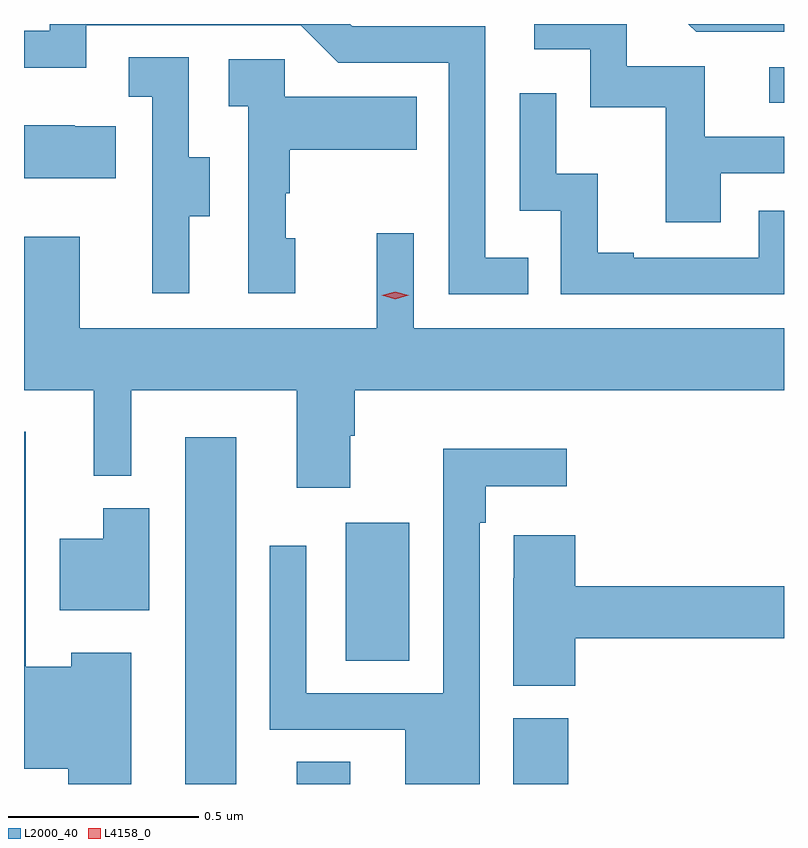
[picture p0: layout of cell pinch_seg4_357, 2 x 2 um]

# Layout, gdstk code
import gdstk
lib = gdstk.Library(unit=1e-6, precision=1e-09)
def R(c, l, rs):  # rectangles x0, y0, x1, y1
    for r in rs: c.add(gdstk.rectangle(r[:2], r[2:], *l))
def P(c, l, *ps):  # polygons
    for p in ps: c.add(gdstk.Polygon(p, *l))
L2000_40 = (2000, 40)
L4158_0 = (4158, 0)

pinch_seg4_357 = lib.new_cell('pinch_seg4_357')
R(pinch_seg4_357, L2000_40, [(995.864,791.788,995.998,792.7), (996.158,791.788,996.298,791.846), (996.728,791.788,996.872,791.961), (996.287,792.112,996.454,792.475), (997.401,793.581,997.44,793.674)])
P(pinch_seg4_357, L2000_40, [(996.767,793.173),(996.654,793.173),(996.654,793.782),(996.304,793.782),(996.298,793.788),(995.508,793.788),(995.508,793.77),(995.44,793.77),(995.44,793.673),(995.604,793.673),(995.604,793.785),(996.168,793.785),(996.267,793.686),(996.558,793.686),(996.558,793.077),(996.767,793.077)],
  [(997.44,793.788),(997.188,793.788),(997.209,793.767),(997.44,793.767)],
  [(997.273,793.395),(997.44,793.395),(997.44,793.491),(997.231,793.491),(997.231,793.677),(997.026,793.677),(997.026,793.788),(996.783,793.788),(996.783,793.722),(996.93,793.722),(996.93,793.569),(997.129,793.569),(997.129,793.266),(997.273,793.266)],
  [(995.875,793.282),(995.929,793.282),(995.929,793.437),(995.874,793.437),(995.874,793.7),(995.715,793.7),(995.715,793.597),(995.778,793.597),(995.778,793.293),(995.777,793.293),(995.777,793.08),(995.875,793.08)],
  [(996.154,793.224),(996.129,793.224),(996.129,793.343),(996.139,793.343),(996.139,793.457),(996.473,793.457),(996.473,793.597),(996.126,793.597),(996.126,793.695),(995.979,793.695),(995.979,793.571),(996.03,793.571),(996.03,793.08),(996.154,793.08)],
  [(997.44,793.296),(997.374,793.296),(997.374,793.173),(997.045,793.173),(997.045,793.186),(996.95,793.186),(996.95,793.394),(996.84,793.394),(996.84,793.606),(996.744,793.606),(996.744,793.296),(996.852,793.296),(996.852,793.077),(997.44,793.077)],
  [(995.681,793.519),(995.573,793.519),(995.573,793.522),(995.44,793.522),(995.44,793.382),(995.681,793.382)],
  [(996.298,792.704),(996.311,792.704),(996.311,792.824),(997.44,792.824),(997.44,792.988),(996.465,792.988),(996.465,793.237),(996.368,793.237),(996.368,792.988),(995.587,792.988),(995.587,793.228),(995.44,793.228),(995.44,792.824),(995.624,792.824),(995.624,792.599),(995.722,792.599),(995.722,792.824),(996.158,792.824),(996.158,792.567),(996.298,792.567)],
  [(995.722,792.133),(995.564,792.133),(995.564,792.097),(995.445,792.097),(995.445,792.715),(995.44,792.715),(995.44,791.828),(995.557,791.828),(995.557,791.788),(995.722,791.788)],
  [(996.639,792.476),(996.655,792.476),(996.655,792.572),(996.868,792.572),(996.868,792.67),(996.543,792.67),(996.543,792.027),(996.183,792.027),(996.183,792.415),(996.087,792.415),(996.087,791.931),(996.443,791.931),(996.443,791.788),(996.639,791.788)],
  [(995.77,792.514),(995.648,792.514),(995.648,792.433),(995.534,792.433),(995.534,792.245),(995.77,792.245)],
  [(996.89,792.172),(997.44,792.172),(997.44,792.308),(996.89,792.308),(996.89,792.442),(996.729,792.442),(996.729,792.329),(996.728,792.329),(996.728,792.046),(996.89,792.046)])
P(pinch_seg4_357, L4158_0, [(996.417,793.064),(996.382,793.074),(996.382,793.074),(996.382,793.074),(996.417,793.084),(996.453,793.074),(996.453,793.074),(996.453,793.074)])

lib.write_gds('pinch_seg4_357.gds')
